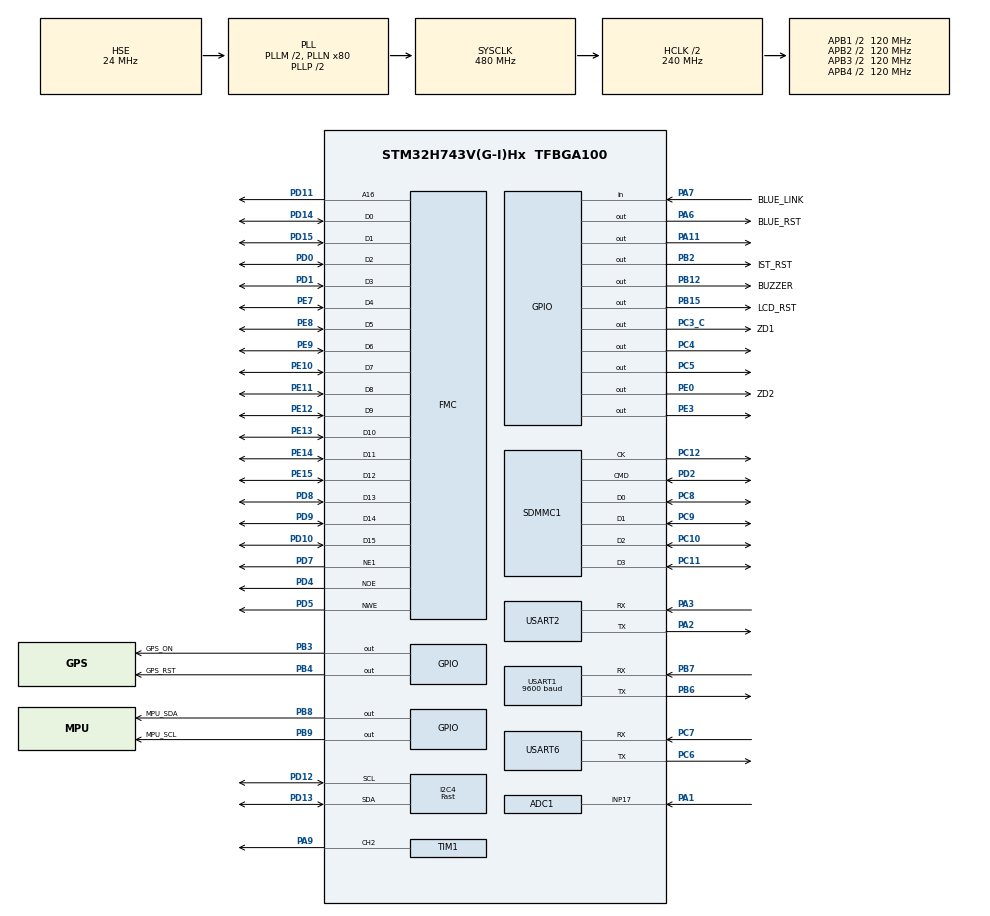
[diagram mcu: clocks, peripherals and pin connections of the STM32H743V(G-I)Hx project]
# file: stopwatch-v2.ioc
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ADC1.Channel-0\#ChannelRegularConversion=ADC_CHANNEL_17
ADC1.NbrOfConversionFlag=1
ADC1.OffsetNumber-0\#ChannelRegularConversion=ADC_OFFSET_NONE
ADC1.OffsetSignedSaturation-0\#ChannelRegularConversion=DISABLE
ADC1.Rank-0\#ChannelRegularConversion=1
ADC1.SamplingTime-0\#ChannelRegularConversion=ADC_SAMPLETIME_1CYCLE_5
ADC1.master=1
CORTEX_M7.default_mode_Activation=1
FMC.AddressSetupTime1=0
FMC.BusTurnAroundDuration1=0
FMC.DataSetupTime1=86
FMC.ExtendedAddressSetupTime1=0
FMC.ExtendedBusTurnAroundDuration1=0
FMC.ExtendedDataSetupTime1=3
FMC.ExtendedMode1=FMC_EXTENDED_MODE_ENABLE
FMC.WriteFifo1=FMC_WRITE_FIFO_ENABLE
I2C4.I2C_Speed_Mode=I2C_Fast
I2C4.Speed=100
I2C4.Timing=0x302027FF
Mcu.Family=STM32H7
Mcu.Name=STM32H743V(G-I)Hx
Mcu.Package=TFBGA100
NVIC.PriorityGroup=NVIC_PRIORITYGROUP_4
NVIC.TIM6_DAC_IRQn=true\:0\:0\:false\:false\:true\:true\:true\:true
NVIC.USART1_IRQn=true\:0\:0\:false\:false\:true\:true\:true\:true
NVIC.USART2_IRQn=true\:0\:0\:false\:false\:true\:true\:true\:true
NVIC.USART6_IRQn=true\:0\:0\:false\:false\:true\:true\:true\:true
PA1.Signal=SharedAnalog_PA1
PA11.Signal=GPIO_Output
PA13\ (JTMS/SWDIO).Mode=Serial_Wire
PA13\ (JTMS/SWDIO).Signal=DEBUG_JTMS-SWDIO
PA14\ (JTCK/SWCLK).Mode=Serial_Wire
PA14\ (JTCK/SWCLK).Signal=DEBUG_JTCK-SWCLK
PA2.Mode=Asynchronous
PA2.Signal=USART2_TX
PA3.Mode=Asynchronous
PA3.Signal=USART2_RX
PA6.GPIO_Label=BLUE_RST
PA6.Signal=GPIO_Output
PA7.GPIO_Label=BLUE_LINK
PA7.Signal=GPIO_Input
PA9.Signal=S_TIM1_CH2
PB12.GPIO_Label=BUZZER
PB12.Signal=GPIO_Output
PB15.GPIO_Label=LCD_RST
PB15.Signal=GPIO_Output
PB2.GPIO_Label=IST_RST
PB2.Signal=GPIO_Output
PB3\ (JTDO/TRACESWO).GPIO_Label=GPS_ON
PB3\ (JTDO/TRACESWO).PinState=GPIO_PIN_SET
PB3\ (JTDO/TRACESWO).Signal=GPIO_Output
PB4\ (NJTRST).GPIO_Label=GPS_RST
PB4\ (NJTRST).PinState=GPIO_PIN_RESET
PB4\ (NJTRST).Signal=GPIO_Output
PB6.Mode=Asynchronous
PB6.Signal=USART1_TX
PB7.Mode=Asynchronous
PB7.Signal=USART1_RX
PB8.GPIO_Label=MPU_SDA
PB8.Signal=GPIO_Output
PB9.GPIO_Label=MPU_SCL
PB9.Signal=GPIO_Output
PC10.Mode=SD_4_bits_Wide_bus
PC10.Signal=SDMMC1_D2
PC11.Mode=SD_4_bits_Wide_bus
PC11.Signal=SDMMC1_D3
PC12.Mode=SD_4_bits_Wide_bus
PC12.Signal=SDMMC1_CK
PC3_C.GPIO_Label=ZD1
PC3_C.Signal=GPIO_Output
PC4.GPIO_Speed=GPIO_SPEED_FREQ_VERY_HIGH
PC4.PinState=GPIO_PIN_SET
PC4.Signal=GPIO_Output
PC5.GPIO_Speed=GPIO_SPEED_FREQ_VERY_HIGH
PC5.PinState=GPIO_PIN_SET
PC5.Signal=GPIO_Output
PC6.Mode=Asynchronous
PC6.Signal=USART6_TX
PC7.Mode=Asynchronous
PC7.Signal=USART6_RX
PC8.Mode=SD_4_bits_Wide_bus
PC8.Signal=SDMMC1_D0
PC9.Mode=SD_4_bits_Wide_bus
PC9.Signal=SDMMC1_D1
PD0.Signal=FMC_D2_DA2
PD1.Signal=FMC_D3_DA3
PD10.Signal=FMC_D15_DA15
PD11.Signal=FMC_A16_CLE
PD12.Mode=I2C
PD12.Signal=I2C4_SCL
PD13.Mode=I2C
PD13.Signal=I2C4_SDA
PD14.Signal=FMC_D0_DA0
PD15.Signal=FMC_D1_DA1
PD2.Mode=SD_4_bits_Wide_bus
PD2.Signal=SDMMC1_CMD
PD4.Signal=FMC_NOE
PD5.Signal=FMC_NWE
PD7.Mode=NorPsramChipSelect1_1
PD7.Signal=FMC_NE1
PD8.Signal=FMC_D13_DA13
PD9.Signal=FMC_D14_DA14
PE0.GPIO_Label=ZD2
PE0.Signal=GPIO_Output
PE10.Signal=FMC_D7_DA7
PE11.Signal=FMC_D8_DA8
PE12.Signal=FMC_D9_DA9
PE13.Signal=FMC_D10_DA10
PE14.Signal=FMC_D11_DA11
PE15.Signal=FMC_D12_DA12
PE3.Signal=GPIO_Output
PE7.Signal=FMC_D4_DA4
PE8.Signal=FMC_D5_DA5
PE9.Signal=FMC_D6_DA6
PH0-OSC_IN\ (PH0).Mode=HSE-External-Oscillator
PH0-OSC_IN\ (PH0).Signal=RCC_OSC_IN
PH1-OSC_OUT\ (PH1).Mode=HSE-External-Oscillator
PH1-OSC_OUT\ (PH1).Signal=RCC_OSC_OUT
ProjectManager.HeapSize=0x800
ProjectManager.StackSize=0x800
ProjectManager.TargetToolchain=MDK-ARM V5.32
RCC.ADCFreq_Value=84000000
RCC.APB1Freq_Value=120000000
RCC.APB2Freq_Value=120000000
RCC.APB3Freq_Value=120000000
RCC.APB4Freq_Value=120000000
RCC.CortexFreq_Value=480000000
RCC.D1PPRE=RCC_APB3_DIV2
RCC.D2PPRE1=RCC_APB1_DIV2
RCC.D2PPRE2=RCC_APB2_DIV2
RCC.D3PPRE=RCC_APB4_DIV2
RCC.DIVM1=2
RCC.DIVM2=2
RCC.DIVN1=80
RCC.DIVN2=14
RCC.DIVQ1=4
RCC.HCLKFreq_Value=240000000
RCC.HPRE=RCC_HCLK_DIV2
RCC.HSE_VALUE=24000000
RCC.PLL2FRACN=0
RCC.PLL3FRACN=0
RCC.PLLFRACN=0
RCC.PLLSourceVirtual=RCC_PLLSOURCE_HSE
RCC.SYSCLKFreq_VALUE=480000000
RCC.SYSCLKSource=RCC_SYSCLKSOURCE_PLLCLK
RCC.USBFreq_Value=240000000
SDMMC1.ClockDiv=100
SH.FMC_A16_CLE.0=FMC_A16,A16_1
SH.FMC_D0_DA0.0=FMC_D0,16b-d1
SH.FMC_D10_DA10.0=FMC_D10,16b-d1
SH.FMC_D11_DA11.0=FMC_D11,16b-d1
SH.FMC_D12_DA12.0=FMC_D12,16b-d1
SH.FMC_D13_DA13.0=FMC_D13,16b-d1
SH.FMC_D14_DA14.0=FMC_D14,16b-d1
SH.FMC_D15_DA15.0=FMC_D15,16b-d1
SH.FMC_D1_DA1.0=FMC_D1,16b-d1
SH.FMC_D2_DA2.0=FMC_D2,16b-d1
SH.FMC_D3_DA3.0=FMC_D3,16b-d1
SH.FMC_D4_DA4.0=FMC_D4,16b-d1
SH.FMC_D5_DA5.0=FMC_D5,16b-d1
SH.FMC_D6_DA6.0=FMC_D6,16b-d1
SH.FMC_D7_DA7.0=FMC_D7,16b-d1
SH.FMC_D8_DA8.0=FMC_D8,16b-d1
SH.FMC_D9_DA9.0=FMC_D9,16b-d1
SH.FMC_NOE.0=FMC_NOE,Lcd1
SH.FMC_NWE.0=FMC_NWE,Lcd1
SH.S_TIM1_CH2.0=TIM1_CH2,PWM Generation2 CH2
SH.SharedAnalog_PA1.0=ADC1_INN16
SH.SharedAnalog_PA1.1=ADC1_INP17,IN17-Single-Ended
TIM1.Channel-PWM\ Generation2\ CH2=TIM_CHANNEL_2
TIM1.Period=999
TIM1.Prescaler=239
TIM1.Pulse-PWM\ Generation2\ CH2=500
TIM6.Period=999
TIM6.Prescaler=239
USART1.BaudRate=9600
USART1.VirtualMode-Asynchronous=VM_ASYNC
USART2.VirtualMode-Asynchronous=VM_ASYNC
USART6.VirtualMode=VM_ASYNC
VP_FATFS_VS_SDIO.Mode=SDIO
VP_MEMORYMAP_VS_MEMORYMAP.Mode=CurAppReg
VP_TIM6_VS_ClockSourceINT.Mode=Enable_Timer
board=custom

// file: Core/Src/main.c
/* USER CODE BEGIN Header */
/**
  ******************************************************************************
  * @file           : main.c
  * @brief          : Main program body
  ******************************************************************************
  * @attention
  *
  * Copyright (c) 2025 STMicroelectronics.
  * All rights reserved.
  *
  * This software is licensed under terms that can be found in the LICENSE file
  * in the root directory of this software component.
  * If no LICENSE file comes with this software, it is provided AS-IS.
  *
  ******************************************************************************
  */
/* USER CODE END Header */
#include "main.h"
#include "adc.h"
#include "fatfs.h"
#include "i2c.h"
#include "memorymap.h"
#include "sdmmc.h"
#include "tim.h"
#include "usart.h"
#include "gpio.h"
#include "fmc.h"

/* USER CODE BEGIN Includes */
#include "tftlcd.h"
#include "ctp.h"
#include "string.h"
#include "gps.h"
#include "lvgl.h"
#include "lv_port_disp.h"
#include "lv_port_indev.h"
#include "dps310.h"
#include "ist8301.h"
#include "gui_guider.h"
#include "events_init.h"
#include "mpu6050.h"
#include "inv_mpu.h"
#include "inv_mpu_dmp_motion_driver.h"
#include "bikesys.h"
#include "file_operate.h"
/* USER CODE END Includes */

/* USER CODE BEGIN PM */
uint8_t IDLE_Rx[200];
uint8_t IDLE_Rx1[50];
GPRMC_Data data;
lv_ui guider_ui;
uint16_t adcValue;
bikeSys bike;

uint16_t show_direction;
uint8_t  directiom_acc;

FIL txt;
FRESULT txtres;
UINT changdu;
char aaa;
char temdata[5];
uint8_t bbb;
uint8_t havecar = 0;

/* USER CODE END PM */

/* USER CODE BEGIN PV */
void timeSet(void);
void BLUE_Deal(void);
void GPS_Deal(void);
/* USER CODE END PV */

void SystemClock_Config(void);
static void MPU_Config(void);

int main(void)
{

  /* USER CODE BEGIN 1 */
	uint16_t skipTime = 200;
	int setline = 20;
	lv_point_t line[] = {{50, setline},{0, 45},};
	char angele[7];
  /* USER CODE END 1 */

  /* MPU Configuration--------------------------------------------------------*/
  MPU_Config();

  /* MCU Configuration--------------------------------------------------------*/

  /* Reset of all peripherals, Initializes the Flash interface and the Systick. */
  HAL_Init();

  /* Configure the system clock */
  SystemClock_Config();

  /* Initialize all configured peripherals */
  MX_GPIO_Init();
  MX_FMC_Init();
  MX_TIM6_Init();
  MX_I2C4_Init();
  MX_USART1_UART_Init();
  MX_USART2_UART_Init();
  MX_USART6_UART_Init();
  MX_ADC1_Init();
  MX_TIM1_Init();
  MX_SDMMC1_SD_Init();
  MX_FATFS_Init();
  /* USER CODE BEGIN 2 */
	HAL_UARTEx_ReceiveToIdle_IT(&huart2,IDLE_Rx1,50);
	lcd_init();
	while(MPU_Init())
		HAL_Delay(100);
	while(mpu_dmp_init())
		HAL_Delay(100);
	lcd_clear(BLACK);
	FT6336_Init();
	lv_init();
	lv_port_disp_init();
	lv_port_indev_init();
	setup_ui(&guider_ui);
  events_init(&guider_ui);
	HAL_TIM_Base_Start_IT(&htim6);
	DSP310_Init();
	IST8310_Init();

	HAL_TIM_Base_Start(&htim1);
	HAL_TIM_PWM_Start(&htim1,TIM_CHANNEL_2);
	htim1.Instance->CCR2 = 700;
	data.speed = 0.0;
	lv_bar_set_value(guider_ui.open_open_bar1, 100, LV_ANIM_ON);
	while(skipTime--)
	{
		HAL_Delay(5);
	  lv_timer_handler();
	}
	lv_obj_clear_flag(guider_ui.open_btn_1, LV_OBJ_FLAG_HIDDEN);

	HAL_GPIO_WritePin(BUZZER_GPIO_Port,BUZZER_Pin,GPIO_PIN_SET);
	HAL_Delay(200);
	HAL_GPIO_WritePin(BUZZER_GPIO_Port,BUZZER_Pin,GPIO_PIN_RESET);
	while(bike.currentScr == 0)
	{
		HAL_Delay(5);
	  lv_timer_handler();
	}
	if(Mount_FatFs())
		lv_obj_set_style_text_color(guider_ui.show_sdcard, lv_color_hex(0x00ff00), LV_PART_MAIN|LV_STATE_DEFAULT);
	FatFs_GetDiskInfo();
	HAL_GPIO_WritePin(GPS_ON_GPIO_Port,GPS_ON_Pin,GPIO_PIN_SET);
	HAL_GPIO_WritePin(BLUE_RST_GPIO_Port,BLUE_RST_Pin,GPIO_PIN_SET);
	HAL_Delay(100);
	HAL_GPIO_WritePin(BLUE_RST_GPIO_Port,BLUE_RST_Pin,GPIO_PIN_RESET);
	HAL_GPIO_WritePin(GPS_RST_GPIO_Port,GPS_RST_Pin,GPIO_PIN_SET);
	HAL_UARTEx_ReceiveToIdle_IT(&huart1,IDLE_Rx,150);

  /* USER CODE END 2 */

  /* Infinite loop */
  /* USER CODE BEGIN WHILE */
  while (1)
  {
		HAL_Delay(4);
	  lv_timer_handler();
		BLUE_Deal();
		GPS_Deal();
		if(bike.skp++ == 15)
		{
			bike.skp = 0;
			mpu_dmp_get_data( &bike.pitch,&bike.roll,&bike.yaw);
			line[0].y = 45 -  (int)bike.pitch+15;
			lv_line_set_points(guider_ui.show_angle, line, 2);
			sprintf(angele,"%d",(int)bike.pitch - 15);
			lv_label_set_text(guider_ui.show_ange, angele);

			DPS310_ReadDate(&bike.temperature, &bike.alt);
			sprintf(bike.altitude,"%.1fM",bike.alt);
			lv_label_set_text(guider_ui.show_pressure, bike.altitude);

			bike.direction = (uint16_t)IST8310_ReadData();
			show_direction += bike.direction;
			if(directiom_acc++ == 2)
			{
				directiom_acc = 0;
				show_direction = show_direction / 3;
				sprintf(bike.Direction,"%d",show_direction);
			  lv_label_set_text(guider_ui.show_label_13, bike.Direction);
				show_direction = 0;
			}
		}

		if(bike.ctlFlag)
		{
			bike.turnState = 0;
			if(bike.ctlFlag == 1)
			{
				HAL_UART_Transmit(&huart2,(uint8_t*)"LsP:3",5,1000);
				bike.turnFlag = 1;
			}
			else if(bike.ctlFlag == 2)
			{
				HAL_UART_Transmit(&huart2,(uint8_t*)"LsP:2",5,1000);
				bike.turnFlag = 2;
			}
			else if(bike.ctlFlag == 3)
			{
				HAL_UART_Transmit(&huart2,(uint8_t*)"LsV:1",5,1000);
				bike.turnFlag = 3;
			}
			else if(bike.ctlFlag == 4)
			{
				HAL_UART_Transmit(&huart2,(uint8_t*)"LsT:1",5,1000);
				bike.turnFlag = 3;
			}
			else if(bike.ctlFlag == 5)
			{
				HAL_UART_Transmit(&huart2,(uint8_t*)"LsP:1",5,1000);
			}
			bike.ctlFlag = 0;
		}
    /* USER CODE END WHILE */

  }
}

void SystemClock_Config(void)
{
  RCC_OscInitTypeDef RCC_OscInitStruct = {0};
  RCC_ClkInitTypeDef RCC_ClkInitStruct = {0};

  /** Supply configuration update enable
  */
  HAL_PWREx_ConfigSupply(PWR_LDO_SUPPLY);

  /** Configure the main internal regulator output voltage
  */
  __HAL_PWR_VOLTAGESCALING_CONFIG(PWR_REGULATOR_VOLTAGE_SCALE0);

  while(!__HAL_PWR_GET_FLAG(PWR_FLAG_VOSRDY)) {}

  /** Initializes the RCC Oscillators according to the specified parameters
  * in the RCC_OscInitTypeDef structure.
  */
  RCC_OscInitStruct.OscillatorType = RCC_OSCILLATORTYPE_HSE;
  RCC_OscInitStruct.HSEState = RCC_HSE_ON;
  RCC_OscInitStruct.PLL.PLLState = RCC_PLL_ON;
  RCC_OscInitStruct.PLL.PLLSource = RCC_PLLSOURCE_HSE;
  RCC_OscInitStruct.PLL.PLLM = 2;
  RCC_OscInitStruct.PLL.PLLN = 80;
  RCC_OscInitStruct.PLL.PLLP = 2;
  RCC_OscInitStruct.PLL.PLLQ = 4;
  RCC_OscInitStruct.PLL.PLLR = 2;
  RCC_OscInitStruct.PLL.PLLRGE = RCC_PLL1VCIRANGE_3;
  RCC_OscInitStruct.PLL.PLLVCOSEL = RCC_PLL1VCOWIDE;
  RCC_OscInitStruct.PLL.PLLFRACN = 0;
  if (HAL_RCC_OscConfig(&RCC_OscInitStruct) != HAL_OK)
  {
    Error_Handler();
  }

  /** Initializes the CPU, AHB and APB buses clocks
  */
  RCC_ClkInitStruct.ClockType = RCC_CLOCKTYPE_HCLK|RCC_CLOCKTYPE_SYSCLK
                              |RCC_CLOCKTYPE_PCLK1|RCC_CLOCKTYPE_PCLK2
                              |RCC_CLOCKTYPE_D3PCLK1|RCC_CLOCKTYPE_D1PCLK1;
  RCC_ClkInitStruct.SYSCLKSource = RCC_SYSCLKSOURCE_PLLCLK;
  RCC_ClkInitStruct.SYSCLKDivider = RCC_SYSCLK_DIV1;
  RCC_ClkInitStruct.AHBCLKDivider = RCC_HCLK_DIV2;
  RCC_ClkInitStruct.APB3CLKDivider = RCC_APB3_DIV2;
  RCC_ClkInitStruct.APB1CLKDivider = RCC_APB1_DIV2;
  RCC_ClkInitStruct.APB2CLKDivider = RCC_APB2_DIV2;
  RCC_ClkInitStruct.APB4CLKDivider = RCC_APB4_DIV2;

  if (HAL_RCC_ClockConfig(&RCC_ClkInitStruct, FLASH_LATENCY_4) != HAL_OK)
  {
    Error_Handler();
  }
}

/* USER CODE BEGIN 4 */

void autoDataSet(void)
{
	if(bike.AUTO_DATA_Flag == 1)
	{
		txtres = f_open(&txt, "rundata.c", FA_READ);
		if(txtres == FR_OK)
		{
			bike.AUTO_DATA_Flag = 2;
		}
	}
	else if(bike.AUTO_DATA_Flag == 2)
	{
			txtres = f_read(&txt, &aaa, 1, &changdu);
			if (txtres != FR_OK || changdu == 0) {
					f_close(&txt);
				}
			bbb = 0;
			while(aaa != ',')
			{
				temdata[bbb] = aaa;
				txtres = f_read(&txt, &aaa, 1, &changdu);
				if (txtres != FR_OK || changdu == 0) {
					break;
					f_close(&txt);
				}
				bbb++;
			}
			if(sscanf(temdata,"%f",&data.speed) == 1)
			{
				data.status = 'A';
			}
	}
}

void timeSet(void)
{
	if(bike.RUN_Flag == 1)
	{
		bike.runSecond++;
		if(bike.runSecond == 120)
		{
			bike.runSecond = 0;
			bike.runMin++;
			if(bike.runMin == 120)
			{
				bike.runMin = 0;
				bike.runHour++;
			}
		}
		sprintf(bike.runTime,"%d:%d:%d",bike.runHour,bike.runMin,bike.runSecond/2);
		lv_label_set_text(guider_ui.show_runTime, bike.runTime);

		bike.allKm += (data.speed / 7200)*1.2;
		sprintf(bike.allLong,"%.1fKm",bike.allKm);
		lv_label_set_text(guider_ui.show_allKm, bike.allLong);
		bike.avgSpeed = bike.allKm / (float)(((float)bike.runSecond/7200.0f) + (float)((float)bike.runMin / 60.0f) + bike.runHour);
		sprintf(bike.avgspeed,"%.1fKm/h",bike.avgSpeed/1.2);
		lv_label_set_text(guider_ui.show_avgSpeed, bike.avgspeed);
	}
	sprintf(bike.realtime,"%d:%d",data.hours,data.minutes);
	lv_label_set_text(guider_ui.show_time, bike.realtime);
}

void BLUE_Deal(void)
{
	if(bike.BLUE_Flag == 1)
	{
		printf("%s\r\n",IDLE_Rx1);
		if(sscanf((char*)IDLE_Rx1,"rpm:%f",&bike.tp) == 1)
		{
			sprintf(bike.TP,"%.1fR/m",bike.tp);
			lv_label_set_text(guider_ui.show_label_3, bike.TP);
		}
		else if(strcmp((char*)IDLE_Rx1, (char*)"rightee") == 0) {
			bike.ctlFlag = 1;
			HAL_UART_Transmit(&huart2,(uint8_t*)"LsP:3",5,1000);
			HAL_Delay(100);
			HAL_UART_Transmit(&huart2,(uint8_t*)"rightee",8,1000);
		}
		else if(strcmp((char*)IDLE_Rx1, (char*)"leftee") == 0) {
			bike.ctlFlag = 2;
			HAL_UART_Transmit(&huart2,(uint8_t*)"LsP:2",5,1000);
			HAL_Delay(100);
			HAL_UART_Transmit(&huart2,(uint8_t*)"leftee",8,1000);
		}
		else if(strcmp((char*)IDLE_Rx1, (char*)"rightfrontee") == 0) {
			bike.ctlFlag = 1;
			HAL_UART_Transmit(&huart2,(uint8_t*)"LsP:3",5,1000);
			HAL_Delay(100);
			HAL_UART_Transmit(&huart2,(uint8_t*)"rightee",8,1000);
		}
		else if(strcmp((char*)IDLE_Rx1, (char*)"leftfrontee") == 0) {
			bike.ctlFlag = 2;
			HAL_UART_Transmit(&huart2,(uint8_t*)"LsP:2",5,1000);
			HAL_Delay(100);
			HAL_UART_Transmit(&huart2,(uint8_t*)"leftee",8,1000);
		}

		else if(strcmp((char*)IDLE_Rx1, (char*)"LsP:1") == 0) {
			bike.ctlFlag = 1;
		}
		else if(strcmp((char*)IDLE_Rx1, (char*)"LsP:2") == 0) {
			bike.ctlFlag = 2;
		}
		else if(strcmp((char*)IDLE_Rx1, (char*)"LsV:1") == 0) {
			bike.ctlFlag = 3;
		}
		else if(strcmp((char*)IDLE_Rx1, (char*)"LsT:1") == 0) {
			bike.ctlFlag = 4;
		}
		else if(strcmp((char*)IDLE_Rx1, (char*)"LsS:1") == 0) {
			bike.ctlFlag = 5;
		}

		else if(strcmp((char*)IDLE_Rx1, (char*)"dis:1") == 0) {
			havecar = 1;   //�к�
			HAL_GPIO_WritePin(BUZZER_GPIO_Port,BUZZER_Pin,GPIO_PIN_RESET);
		}
		else if(strcmp((char*)IDLE_Rx1, (char*)"dis:2") == 0) {
			havecar = 0;   //�޺�
			HAL_GPIO_WritePin(BUZZER_GPIO_Port,BUZZER_Pin,GPIO_PIN_RESET);
		}

		memset(IDLE_Rx1,0,50);
		bike.BLUE_Flag = 0;
	}
}
void GPS_Deal(void)
{
	if(bike.GPS_Flag == 1)
	{
		printf("%s",IDLE_Rx);
		parse_gprmc((char*)IDLE_Rx, &data);
		if(bike.AUTO_DATA_Flag)autoDataSet();
		timeSet();
		if(bike.AUTO_STOP_Flag == 1)
		{
			HAL_GPIO_WritePin(BUZZER_GPIO_Port,BUZZER_Pin,GPIO_PIN_RESET);
			if(data.speed == 0 && bike.RUN_Flag)
			{
				bike.auto_stopTime++;
				if(bike.auto_stopTime >= 10)
				{
					bike.RUN_Flag = 0;
					bike.auto_stopTime = 0;
					lv_label_set_text(guider_ui.show_start_label,LV_SYMBOL_PLAY);
					HAL_GPIO_WritePin(BUZZER_GPIO_Port,BUZZER_Pin,GPIO_PIN_SET);
				}
			}
			else if(data.speed > 5 && bike.RUN_Flag == 0)
			{
				bike.auto_stopTime++;
				if(bike.auto_stopTime >= 10)
				{
					bike.RUN_Flag = 1;
					bike.auto_stopTime = 0;
					lv_label_set_text(guider_ui.show_start_label,LV_SYMBOL_PAUSE);
					HAL_GPIO_WritePin(BUZZER_GPIO_Port,BUZZER_Pin,GPIO_PIN_SET);
				}
			}
		}

		if(bike.turnFlag)
		{
			bike.turnState++;
			if((bike.turnState % 2) == 0 && bike.turnFlag == 1)
			{
				HAL_GPIO_WritePin(BUZZER_GPIO_Port,BUZZER_Pin,GPIO_PIN_SET);
				HAL_GPIO_WritePin(GPIOE,GPIO_PIN_0,GPIO_PIN_SET);
				lv_obj_set_style_img_opa(guider_ui.show_turnRight, 76, LV_PART_MAIN|LV_STATE_DEFAULT);
			}
			else if((bike.turnState % 2) == 1 && bike.turnFlag == 1)
			{
				HAL_GPIO_WritePin(BUZZER_GPIO_Port,BUZZER_Pin,GPIO_PIN_RESET);
				HAL_GPIO_WritePin(GPIOE,GPIO_PIN_0,GPIO_PIN_RESET);
				lv_obj_set_style_img_opa(guider_ui.show_turnRight, 255, LV_PART_MAIN|LV_STATE_DEFAULT);
			}

			if((bike.turnState % 2) == 0 && bike.turnFlag == 2)
			{
				HAL_GPIO_WritePin(BUZZER_GPIO_Port,BUZZER_Pin,GPIO_PIN_SET);
				HAL_GPIO_WritePin(GPIOE,GPIO_PIN_0,GPIO_PIN_SET);
				lv_obj_set_style_img_opa(guider_ui.show_turnLeft, 76, LV_PART_MAIN|LV_STATE_DEFAULT);
			}
			else if((bike.turnState % 2) == 1 && bike.turnFlag == 2)
			{
				HAL_GPIO_WritePin(BUZZER_GPIO_Port,BUZZER_Pin,GPIO_PIN_RESET);
				HAL_GPIO_WritePin(GPIOE,GPIO_PIN_0,GPIO_PIN_RESET);
				lv_obj_set_style_img_opa(guider_ui.show_turnLeft, 255, LV_PART_MAIN|LV_STATE_DEFAULT);
			}
			if(bike.turnState == 5 && bike.turnFlag == 1)
			{
				bike.turnState = 0;
				HAL_GPIO_WritePin(BUZZER_GPIO_Port,BUZZER_Pin,GPIO_PIN_RESET);
				HAL_GPIO_WritePin(GPIOE,GPIO_PIN_0,GPIO_PIN_RESET);
				lv_obj_set_style_img_opa(guider_ui.show_turnRight, 76, LV_PART_MAIN|LV_STATE_DEFAULT);
				lv_obj_set_style_img_opa(guider_ui.show_turnLeft, 76, LV_PART_MAIN|LV_STATE_DEFAULT);
				bike.turnFlag = 0;
			}
			else if(bike.turnState == 3 && bike.turnFlag == 2)
			{
				bike.turnState = 0;
				HAL_GPIO_WritePin(BUZZER_GPIO_Port,BUZZER_Pin,GPIO_PIN_RESET);
				HAL_GPIO_WritePin(GPIOE,GPIO_PIN_0,GPIO_PIN_RESET);
				lv_obj_set_style_img_opa(guider_ui.show_turnRight, 76, LV_PART_MAIN|LV_STATE_DEFAULT);
				lv_obj_set_style_img_opa(guider_ui.show_turnLeft, 76, LV_PART_MAIN|LV_STATE_DEFAULT);
				bike.turnFlag = 0;
			}
		}

		if(bike.LIGHT_Flag == 1)
		{
			HAL_ADC_Start(&hadc1);
			if(HAL_OK == HAL_ADC_PollForConversion(&hadc1,50))
				adcValue = HAL_ADC_GetValue(&hadc1);
			htim1.Instance->CCR2 = 1000 - ((adcValue * 1000) / 65535);
		}
		if(data.status == 'A')
		{
			sprintf(bike.speeD,"%.1f",data.speed);
			lv_label_set_text(guider_ui.show_speed, bike.speeD);

			if(bike.maxSpeed <= data.speed && bike.RUN_Flag == 1)
			{
				bike.maxSpeed = data.speed;
				sprintf(bike.maxspeed,"%.1fKm/h",bike.maxSpeed);
				lv_label_set_text(guider_ui.show_maxSpeed, bike.maxspeed);
			}

			lv_obj_set_style_text_color(guider_ui.show_gps,lv_color_hex(0x00ff00),LV_PART_MAIN|LV_STATE_DEFAULT);
		}
		else
		{
			lv_obj_set_style_text_color(guider_ui.show_gps,lv_color_hex(0xff0000),LV_PART_MAIN|LV_STATE_DEFAULT);
			data.speed = 0;
			sprintf(bike.speeD,"%.1f",data.speed);
			lv_label_set_text(guider_ui.show_speed, bike.speeD);
		}

		bike.GPS_Flag = 0;
		memset(IDLE_Rx,0,150);
	}
}
void HAL_TIM_PeriodElapsedCallback(TIM_HandleTypeDef *htim)
{
	static uint16_t cunt = 0;
	if (htim->Instance == TIM6)
	{
		lv_tick_inc(1);
		if(havecar == 1)
		{
			cunt++;
			if(cunt%60 == 0)
			{
				HAL_GPIO_TogglePin(BUZZER_GPIO_Port,BUZZER_Pin);
			}
		}
	}
}

void HAL_UARTEx_RxEventCallback(UART_HandleTypeDef *huart, uint16_t Size)
{
	if(huart->Instance == USART2)
	{
		bike.BLUE_Flag = 1;
		HAL_UARTEx_ReceiveToIdle_IT(&huart2,IDLE_Rx1,50);
	}
	if(huart->Instance == USART1)
	{
		bike.GPS_Flag = 1;
		HAL_UARTEx_ReceiveToIdle_IT(&huart1,IDLE_Rx,150);
	}
}

/* USER CODE END 4 */

 /* MPU Configuration */

void MPU_Config(void)
{
  MPU_Region_InitTypeDef MPU_InitStruct = {0};

  /* Disables the MPU */
  HAL_MPU_Disable();

  /** Initializes and configures the Region and the memory to be protected
  */
  MPU_InitStruct.Enable = MPU_REGION_ENABLE;
  MPU_InitStruct.Number = MPU_REGION_NUMBER0;
  MPU_InitStruct.BaseAddress = 0x0;
  MPU_InitStruct.Size = MPU_REGION_SIZE_4GB;
  MPU_InitStruct.SubRegionDisable = 0x87;
  MPU_InitStruct.TypeExtField = MPU_TEX_LEVEL0;
  MPU_InitStruct.AccessPermission = MPU_REGION_NO_ACCESS;
  MPU_InitStruct.DisableExec = MPU_INSTRUCTION_ACCESS_DISABLE;
  MPU_InitStruct.IsShareable = MPU_ACCESS_SHAREABLE;
  MPU_InitStruct.IsCacheable = MPU_ACCESS_NOT_CACHEABLE;
  MPU_InitStruct.IsBufferable = MPU_ACCESS_NOT_BUFFERABLE;

  HAL_MPU_ConfigRegion(&MPU_InitStruct);
  /* Enables the MPU */
  HAL_MPU_Enable(MPU_PRIVILEGED_DEFAULT);

}

void Error_Handler(void)
{
  __disable_irq();
  while (1)
  {
  }
}
